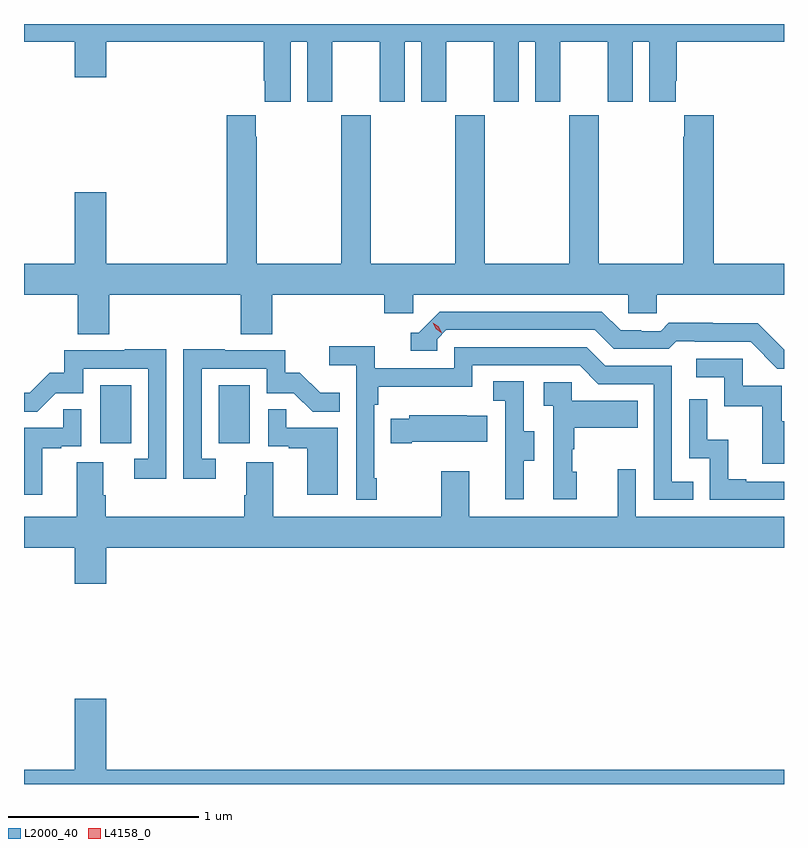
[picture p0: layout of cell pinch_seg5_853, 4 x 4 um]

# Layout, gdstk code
import gdstk
lib = gdstk.Library(unit=1e-6, precision=1e-09)
def R(c, l, rs):  # rectangles x0, y0, x1, y1
    for r in rs: c.add(gdstk.rectangle(r[:2], r[2:], *l))
def P(c, l, *ps):  # polygons
    for p in ps: c.add(gdstk.Polygon(p, *l))
L2000_40 = (2000, 40)
L4158_0 = (4158, 0)

pinch_seg5_853 = lib.new_cell('pinch_seg5_853')
R(pinch_seg5_853, L2000_40, [(836.468,881.286,836.632,881.593), (837.092,881.286,837.256,881.593)])
P(pinch_seg5_853, L2000_40, [(837.472,883.4),(837.56,883.4),(837.56,883.083),(837.691,883.083),(837.691,883.4),(837.941,883.4),(837.941,883.083),(838.072,883.083),(838.072,883.4),(838.16,883.4),(838.16,883.083),(838.291,883.083),(838.291,883.4),(838.541,883.4),(838.541,883.083),(838.672,883.083),(838.672,883.4),(838.76,883.4),(838.76,883.083),(838.891,883.083),(838.891,883.4),(839.141,883.4),(839.141,883.083),(839.272,883.083),(839.272,883.4),(839.36,883.4),(839.36,883.083),(839.497,883.083),(839.497,883.195),(839.504,883.195),(839.504,883.4),(840.068,883.4),(840.068,883.493),(836.068,883.493),(836.068,883.4),(836.336,883.4),(836.336,883.212),(836.5,883.212),(836.5,883.4),(837.329,883.4),(837.329,883.195),(837.335,883.195),(837.335,883.083),(837.472,883.083)],
  [(836.516,882.068),(837.209,882.068),(837.209,881.86),(837.374,881.86),(837.374,882.068),(837.965,882.068),(837.965,881.97),(838.116,881.97),(838.116,882.068),(839.247,882.068),(839.247,881.97),(839.397,881.97),(839.397,882.068),(840.068,882.068),(840.068,882.232),(839.699,882.232),(839.699,883.012),(839.543,883.012),(839.543,882.899),(839.539,882.899),(839.539,882.232),(839.094,882.232),(839.094,883.012),(838.939,883.012),(838.939,882.232),(838.494,882.232),(838.494,883.012),(838.339,883.012),(838.339,882.232),(837.894,882.232),(837.894,883.012),(837.739,883.012),(837.739,882.232),(837.294,882.232),(837.294,882.899),(837.289,882.899),(837.289,883.012),(837.134,883.012),(837.134,882.232),(836.5,882.232),(836.5,882.607),(836.336,882.607),(836.336,882.232),(836.068,882.232),(836.068,882.068),(836.351,882.068),(836.351,881.86),(836.516,881.86)],
  [(840.068,881.779),(839.93,881.917),(839.694,881.917),(839.694,881.92),(839.461,881.92),(839.419,881.877),(839.316,881.877),(839.316,881.88),(839.209,881.88),(839.11,881.979),(838.257,881.979),(838.146,881.868),(838.103,881.868),(838.103,881.772),(838.242,881.772),(838.242,881.835),(838.29,881.883),(839.073,881.883),(839.172,881.784),(839.461,881.784),(839.5,881.823),(839.599,881.823),(839.599,881.82),(839.892,881.82),(840.033,881.679),(840.068,881.679)],
  [(837.925,881.101),(837.912,881.101),(837.912,881.489),(837.932,881.489),(837.932,881.585),(838.428,881.585),(838.428,881.697),(838.992,881.697),(839.091,881.598),(839.382,881.598),(839.382,880.989),(839.591,880.989),(839.591,881.085),(839.478,881.085),(839.478,881.694),(839.128,881.694),(839.029,881.793),(838.332,881.793),(838.332,881.682),(837.914,881.682),(837.914,881.798),(837.675,881.798),(837.675,881.696),(837.816,881.696),(837.816,880.989),(837.925,880.989)],
  [(836.817,881.78),(836.599,881.78),(836.599,881.775),(836.281,881.775),(836.281,881.658),(836.204,881.658),(836.097,881.551),(836.068,881.551),(836.068,881.452),(836.137,881.452),(836.235,881.55),(836.379,881.55),(836.379,881.679),(836.721,881.679),(836.721,881.205),(836.649,881.205),(836.649,881.1),(836.817,881.1)],
  [(837.076,881.205),(837.003,881.205),(837.003,881.679),(837.345,881.679),(837.345,881.55),(837.489,881.55),(837.587,881.452),(837.731,881.452),(837.731,881.551),(837.627,881.551),(837.52,881.658),(837.444,881.658),(837.444,881.775),(837.125,881.775),(837.125,881.78),(836.907,881.78),(836.907,881.1),(837.076,881.1)],
  [(840.068,881.403),(840.055,881.403),(840.055,881.589),(839.85,881.589),(839.85,881.73),(839.607,881.73),(839.607,881.634),(839.754,881.634),(839.754,881.481),(839.953,881.481),(839.953,881.178),(840.068,881.178)],
  [(838.699,881.194),(838.753,881.194),(838.753,881.349),(838.698,881.349),(838.698,881.612),(838.539,881.612),(838.539,881.509),(838.602,881.509),(838.602,881.205),(838.601,881.205),(838.601,880.992),(838.699,880.992)],
  [(838.978,881.136),(838.953,881.136),(838.953,881.255),(838.963,881.255),(838.963,881.369),(839.297,881.369),(839.297,881.509),(838.95,881.509),(838.95,881.607),(838.803,881.607),(838.803,881.483),(838.854,881.483),(838.854,880.992),(838.978,880.992)],
  [(840.068,881.085),(839.869,881.085),(839.869,881.098),(839.774,881.098),(839.774,881.306),(839.664,881.306),(839.664,881.518),(839.568,881.518),(839.568,881.208),(839.676,881.208),(839.676,880.989),(840.068,880.989)],
  [(836.164,881.259),(836.264,881.259),(836.264,881.271),(836.37,881.271),(836.37,881.465),(836.275,881.465),(836.275,881.367),(836.068,881.367),(836.068,881.016),(836.164,881.016)],
  [(837.718,881.367),(837.449,881.367),(837.449,881.465),(837.354,881.465),(837.354,881.271),(837.461,881.271),(837.461,881.259),(837.56,881.259),(837.56,881.016),(837.718,881.016)],
  [(838.108,881.294),(838.505,881.294),(838.505,881.431),(838.397,881.431),(838.397,881.434),(838.095,881.434),(838.095,881.416),(837.997,881.416),(837.997,881.287),(838.108,881.287)],
  [(836.5,880.736),(840.068,880.736),(840.068,880.9),(839.289,880.9),(839.289,881.149),(839.192,881.149),(839.192,880.9),(838.411,880.9),(838.411,881.14),(838.264,881.14),(838.264,880.9),(837.379,880.9),(837.379,881.186),(837.239,881.186),(837.239,881.012),(837.227,881.012),(837.227,880.9),(836.498,880.9),(836.498,881.012),(836.485,881.012),(836.485,881.186),(836.345,881.186),(836.345,880.9),(836.068,880.9),(836.068,880.736),(836.336,880.736),(836.336,880.548),(836.5,880.548)],
  [(840.068,879.568),(836.5,879.568),(836.5,879.943),(836.336,879.943),(836.336,879.568),(836.068,879.568),(836.068,879.493),(840.068,879.493)])
P(pinch_seg5_853, L4158_0, [(838.265,881.868),(838.234,881.888),(838.218,881.921),(838.218,881.921),(838.218,881.921),(838.249,881.901),(838.266,881.868),(838.266,881.868)])

lib.write_gds('pinch_seg5_853.gds')
